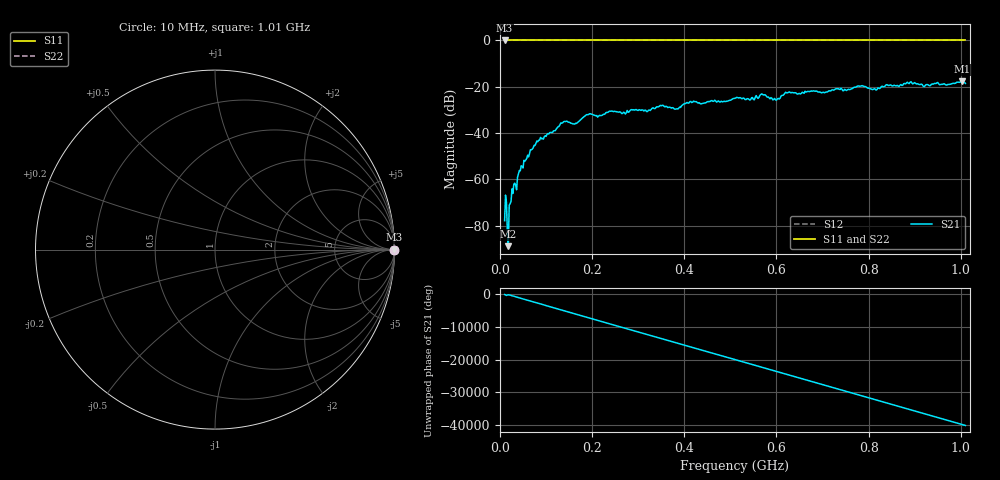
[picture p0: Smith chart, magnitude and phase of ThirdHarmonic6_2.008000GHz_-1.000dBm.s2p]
! 8/17/2025 12:07:11 AM
! C:\ANRITSUVNA\TEMP\TEMP.S2P
! CHANNEL.1
! TR.MEASUREMENT
! RAW.DATA
! RF.CORRECTION.OFF
! AVERAGING.OFF
! IF.BANDWIDTH: 5KHZ
! SWEEPTYPE:  FREQ.SWEEP(Linear)
! Reference Plane Port Info
! PORT:  PORT1  PORT2
! DISTANCE:  0  m  0  m
! TIME:  0  s  0  s
! PHASE.OFFSET:  0  deg.  0  deg.
! LOSS:  0  dB  0  dB
! REF.LOSS:  0  dB  0  dB
! REF.FREQ:  0  Hz  0  Hz
! Power Info
! POWER:  -20  dBm  -20  dBm
! EFF.POWER:  -20  dBm  -20  dBm
! SOURCE.ATTEN:  0  dB  0  dB
! TEST.ATTEN:  0  dB  0  dB
# GHZ S RI R 50.0
! FREQ.GHZ  S11RE  S11IM  S21RE  S21IM  S12RE  S12IM  S22RE  S22IM
!; PortSelection: Port_12
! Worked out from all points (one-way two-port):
!   501 points, 10 MHz to 1.01 GHz, reference 50 ohm
!   highest |S21| = -17.58 dB at 1.002 GHz (marker M1); lowest = -88.8 dB at 18 MHz (marker M2)
!   lowest |S11| = 0.0 dB at 10 MHz (marker M3)
!   |S11| at or under -10 dB: nowhere
!   |S22| runs from 0.0 to 0.0 dB; largest |S21 - S12| = 1.1
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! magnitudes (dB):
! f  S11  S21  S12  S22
! 10 MHz  0.0  -77.8  0.0  0.0
! 18 MHz  0.0  -88.8  0.0  0.0
! 20 MHz  0.0  -71.1  0.0  0.0
! 28 MHz  0.0  -66.0  0.0  0.0
! 42 MHz  0.0  -56.2  0.0  0.0
! 78 MHz  0.0  -44.4  0.0  0.0
! 136 MHz  0.0  -35.6  0.0  0.0
! 162 MHz  0.0  -36.1  0.0  0.0
! 178 MHz  0.0  -33.6  0.0  0.0
! 344 MHz  0.0  -28.7  0.0  0.0
! 382 MHz  0.0  -29.6  0.0  0.0
! 416 MHz  0.0  -26.8  0.0  0.0
! 510 MHz  0.0  -25.0  0.0  0.0
! 570 MHz  0.0  -23.3  0.0  0.0
! 596 MHz  0.0  -25.0  0.0  0.0
! 624 MHz  0.0  -22.6  0.0  0.0
! 678 MHz  0.0  -21.9  0.0  0.0
! 782 MHz  0.0  -19.7  0.0  0.0
! 814 MHz  0.0  -21.0  0.0  0.0
! 844 MHz  0.0  -19.5  0.0  0.0
! 1.002 GHz  0.0  -17.6  0.0  0.0
! 1.01 GHz  0.0  -18.6  0.0  0.0
